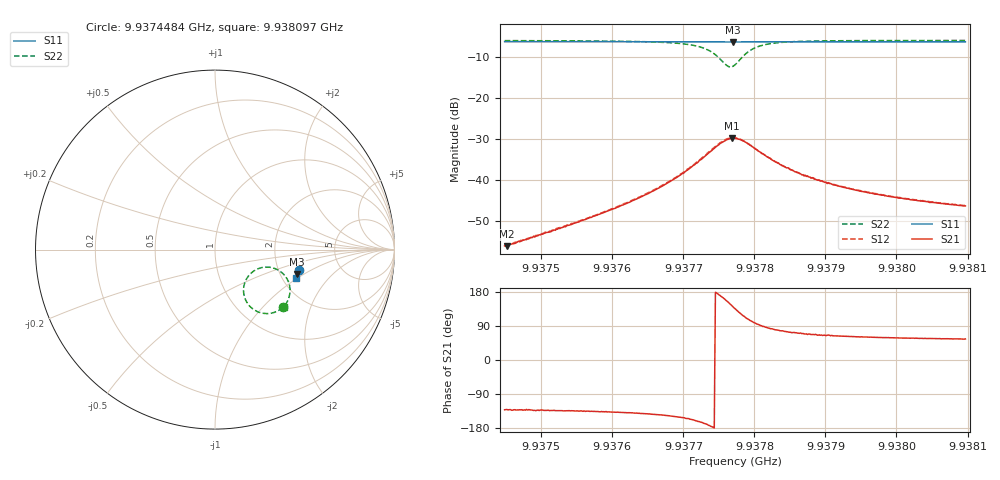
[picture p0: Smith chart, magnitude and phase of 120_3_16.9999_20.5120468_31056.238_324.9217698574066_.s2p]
#  HZ  S  RI  R  50.00
! Rohde & Schwarz Vector Network Analyzer
! Rohde-Schwarz,ZNB20-2Port,1311601062101988,3.16
! Created: UTC 3/20/2024, 10:57:25 PM
! freq[Hz]  re:S11  im:S11  re:S21  im:S21  re:S12  im:S12  re:S22  im:S22
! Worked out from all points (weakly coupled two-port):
!   401 points, 9.9374484 GHz to 9.938097 GHz, reference 50 ohm
!   highest |S21| = -29.78 dB at 9.9377678 GHz (marker M1); lowest = -56.0 dB at 9.9374516 GHz (marker M2)
!   lowest |S11| = -6.4 dB at 9.9377695 GHz (marker M3), VSWR 2.83, Z = 124 - j43.3 ohm
!   |S11| at or under -10 dB: nowhere
!   |S22| runs from -12.5 to -6.0 dB; largest |S21 - S12| = 0.0015
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9.9374484e9  0.4688 -0.116  -0.00106 -0.0012  -0.00107 -0.00119  0.3781 -0.3217
9.93745165e9  0.4687 -0.1163  -0.00103 -0.0012  -0.00109 -0.00124  0.3777 -0.3223
9.93755704e9  0.4663 -0.1235  -0.00226 -0.0023  -0.00235 -0.0023  0.3618 -0.3343
9.9376219e9  0.4646 -0.1279  -0.00404 -0.00349  -0.00414 -0.00348  0.343 -0.3446
9.93766568e9  0.4633 -0.1309  -0.00657 -0.00468  -0.00681 -0.00469  0.3186 -0.353
9.93769973e9  0.4619 -0.1334  -0.0107 -0.00563  -0.0111 -0.00559  0.2817 -0.3563
9.93771756e9  0.4613 -0.1346  -0.0151 -0.00534  -0.0154 -0.00536  0.248 -0.3504
9.93773054e9  0.4604 -0.1353  -0.0193 -0.0041  -0.0197 -0.00381  0.2146 -0.3335
9.93774189e9  0.4594 -0.1357  -0.0239 -0.00102  -0.0244 -0.000225  0.1817 -0.3004
9.93775324e9  0.4585 -0.1358  -0.0278 0.006  -0.0283 0.00687  0.1596 -0.2398
9.93776134e9  0.4583 -0.1355  -0.0283 0.013  -0.0285 0.0142  0.167 -0.1819
9.93776783e9  0.4582 -0.1354  -0.0264 0.0189  -0.0259 0.0202  0.194 -0.1382
9.93776945e9  0.4581 -0.1351  -0.0251 0.0202  -0.0249 0.0215  0.2034 -0.1293
9.93777269e9  0.4583 -0.135  -0.0231 0.0226  -0.0226 0.0239  0.2247 -0.114
9.9377808e9  0.4587 -0.135  -0.0164 0.0263  -0.0156 0.0271  0.2827 -0.0976
9.93779053e9  0.4594 -0.1355  -0.00879 0.0264  -0.00791 0.0269  0.3423 -0.109
9.93780836e9  0.4601 -0.137  -0.000501 0.0219  -3.57e-05 0.022  0.3988 -0.1584
9.93784242e9  0.4601 -0.14  0.00365 0.0141  0.00401 0.0141  0.4185 -0.2264
9.93788133e9  0.4591 -0.1431  0.00414 0.00993  0.00426 0.00988  0.4135 -0.263
9.93793322e9  0.458 -0.1466  0.0037 0.00702  0.00386 0.007  0.4044 -0.2868
9.93798997e9  0.4565 -0.1504  0.0033 0.00545  0.00345 0.00547  0.3962 -0.3014
9.93809698e9  0.4538 -0.1576  0.00276 0.00403  0.00289 0.00399  0.3848 -0.3171
